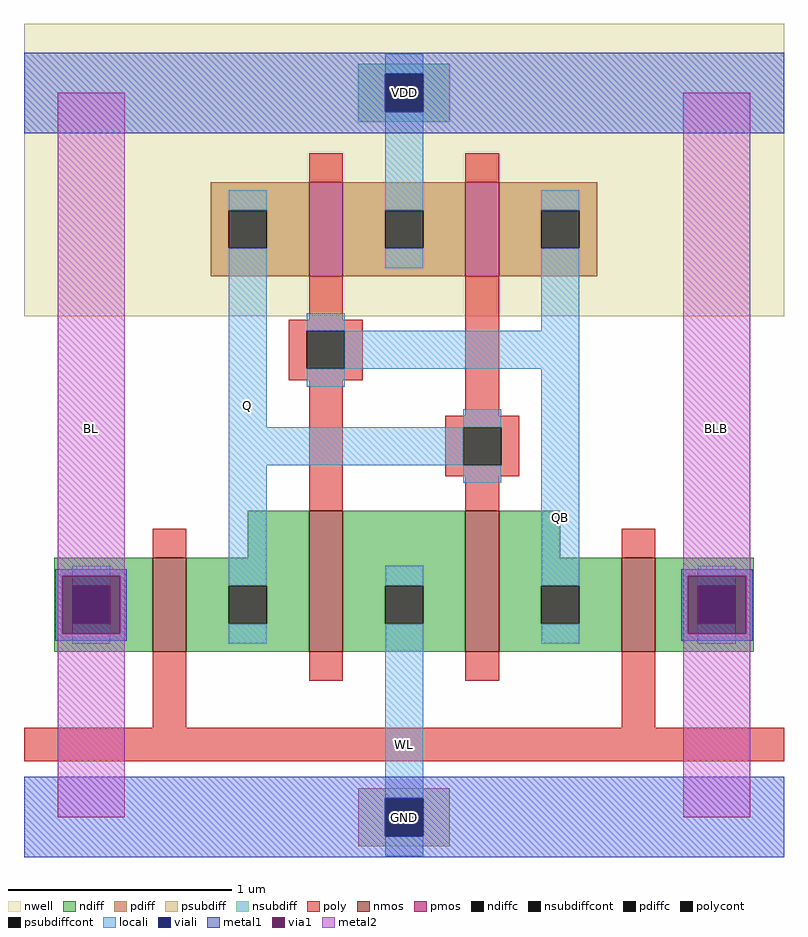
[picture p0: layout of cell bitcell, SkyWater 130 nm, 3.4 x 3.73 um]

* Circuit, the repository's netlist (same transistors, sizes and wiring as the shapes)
.subckt bitcell bl blb wl vdd vss
XXPU1 q qb vdd vdd sky130_fd_pr__pfet_01v8 L=0.15 W=0.42 nf=1 m=1
XXPD1 q qb vss vss sky130_fd_pr__nfet_01v8 L=0.15 W=0.63 nf=1 m=1
XXPU2 qb q vdd vdd sky130_fd_pr__pfet_01v8 L=0.15 W=0.42 nf=1 m=1
XXPD2 qb q vss vss sky130_fd_pr__nfet_01v8 L=0.15 W=0.63 nf=1 m=1
XXPG1 bl wl q vss sky130_fd_pr__nfet_01v8 L=0.15 W=0.42 nf=1 m=1
XXPG2 blb wl qb vss sky130_fd_pr__nfet_01v8 L=0.15 W=0.42 nf=1 m=1
.ends

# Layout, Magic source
magic
tech sky130A
magscale 1 2
<< nwell >>
rect -60 300 620 562
<< nmos >>
rect 55 0 85 84
rect 195 0 225 126
rect 335 0 365 126
rect 475 0 505 84
<< pmos >>
rect 195 336 225 420
rect 335 336 365 420
<< ndiff >>
rect 140 84 195 126
rect -33 59 55 84
rect -33 25 -17 59
rect 17 25 55 59
rect -33 0 55 25
rect 85 59 195 84
rect 85 25 123 59
rect 157 25 195 59
rect 85 0 195 25
rect 225 59 335 126
rect 225 25 263 59
rect 297 25 335 59
rect 225 0 335 25
rect 365 84 420 126
rect 365 59 475 84
rect 365 25 403 59
rect 437 25 475 59
rect 365 0 475 25
rect 505 59 593 84
rect 505 25 543 59
rect 577 25 593 59
rect 505 0 593 25
<< pdiff >>
rect 107 395 195 420
rect 107 361 123 395
rect 157 361 195 395
rect 107 336 195 361
rect 225 395 335 420
rect 225 361 263 395
rect 297 361 335 395
rect 225 336 335 361
rect 365 395 453 420
rect 365 361 403 395
rect 437 361 453 395
rect 365 336 453 361
<< ndiffc >>
rect -17 25 17 59
rect 123 25 157 59
rect 263 25 297 59
rect 403 25 437 59
rect 543 25 577 59
<< pdiffc >>
rect 123 361 157 395
rect 263 361 297 395
rect 403 361 437 395
<< psubdiff >>
rect 239 -131 321 -122
rect 239 -165 263 -131
rect 297 -165 321 -131
rect 239 -174 321 -165
<< nsubdiff >>
rect 239 517 321 526
rect 239 483 263 517
rect 297 483 321 517
rect 239 474 321 483
<< psubdiffcont >>
rect 263 -165 297 -131
<< nsubdiffcont >>
rect 263 483 297 517
<< poly >>
rect 195 420 225 446
rect 335 420 365 446
rect 195 297 225 336
rect 177 287 243 297
rect 177 253 193 287
rect 227 253 243 287
rect 177 243 243 253
rect 195 126 225 243
rect 335 211 365 336
rect 317 201 383 211
rect 317 167 333 201
rect 367 167 383 201
rect 317 157 383 167
rect 335 126 365 157
rect 55 84 85 110
rect 475 84 505 110
rect 55 -68 85 0
rect 195 -26 225 0
rect 335 -26 365 0
rect 475 -68 505 0
rect -60 -98 620 -68
<< polycont >>
rect 193 253 227 287
rect 333 167 367 201
<< locali >>
rect 263 517 297 535
rect 123 395 157 413
rect 123 201 157 361
rect 263 395 297 483
rect 263 343 297 361
rect 403 395 437 413
rect 193 287 227 303
rect 403 287 437 361
rect 227 253 437 287
rect 193 237 227 253
rect 333 201 367 217
rect 123 167 333 201
rect -17 59 17 77
rect -17 7 17 25
rect 123 59 157 167
rect 333 151 367 167
rect 123 7 157 25
rect 263 59 297 77
rect 263 -131 297 25
rect 403 59 437 253
rect 403 7 437 25
rect 543 59 577 77
rect 543 7 577 25
rect 263 -183 297 -165
<< viali >>
rect 263 483 297 517
rect -17 25 17 59
rect 543 25 577 59
rect 263 -165 297 -131
<< metal1 >>
rect -60 517 620 536
rect -60 483 263 517
rect 297 483 620 517
rect -60 464 620 483
rect -32 68 32 74
rect -32 16 -26 68
rect 26 16 32 68
rect -32 10 32 16
rect 528 68 592 74
rect 528 16 534 68
rect 586 16 592 68
rect 528 10 592 16
rect -60 -131 620 -112
rect -60 -165 263 -131
rect 297 -165 620 -131
rect -60 -184 620 -165
<< via1 >>
rect -26 59 26 68
rect -26 25 -17 59
rect -17 25 17 59
rect 17 25 26 59
rect -26 16 26 25
rect 534 59 586 68
rect 534 25 543 59
rect 543 25 577 59
rect 577 25 586 59
rect 534 16 586 25
<< metal2 >>
rect -30 68 30 500
rect -30 16 -26 68
rect 26 16 30 68
rect -30 -148 30 16
rect 530 68 590 500
rect 530 16 534 68
rect 586 16 590 68
rect 530 -148 590 16
<< labels >>
rlabel metal2 0 200 0 200 0 BL
port 1 nsew
rlabel metal2 560 200 560 200 0 BLB
port 2 nsew
rlabel poly 280 -83 280 -83 0 WL
port 3 nsew
rlabel viali 280 500 280 500 0 VDD
port 4 nsew
rlabel viali 280 -148 280 -148 0 GND
port 5 nsew
rlabel locali 140 220 140 220 0 Q
port 6 nsew
rlabel locali 420 120 420 120 0 QB
port 7 nsew
<< end >>
